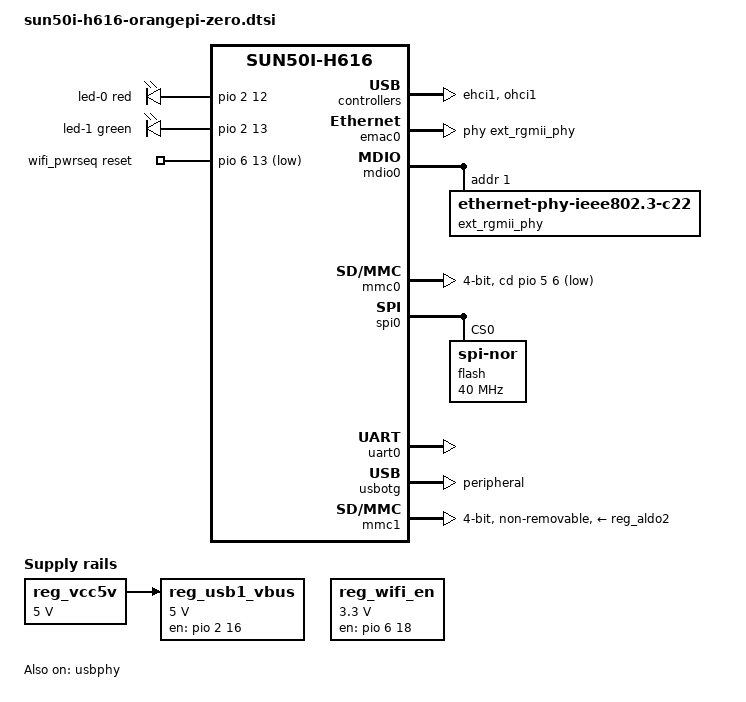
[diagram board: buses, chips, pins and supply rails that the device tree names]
// SPDX-License-Identifier: (GPL-2.0+ OR MIT)
/*
 * Copyright (C) 2020 Arm Ltd.
 *
 * DT nodes common between Orange Pi Zero 2 and Orange Pi Zero 3.
 * Excludes PMIC nodes and properties, since they are different between the two.
 */

#include "sun50i-h616.dtsi"

#include <dt-bindings/gpio/gpio.h>
#include <dt-bindings/interrupt-controller/arm-gic.h>
#include <dt-bindings/leds/common.h>

/ {
	aliases {
		ethernet0 = &emac0;
		serial0 = &uart0;
	};

	chosen {
		stdout-path = "serial0:115200n8";
	};

	leds {
		compatible = "gpio-leds";

		led-0 {
			function = LED_FUNCTION_POWER;
			color = <LED_COLOR_ID_RED>;
			gpios = <&pio 2 12 GPIO_ACTIVE_HIGH>; /* PC12 */
			default-state = "on";
		};

		led-1 {
			function = LED_FUNCTION_STATUS;
			color = <LED_COLOR_ID_GREEN>;
			gpios = <&pio 2 13 GPIO_ACTIVE_HIGH>; /* PC13 */
		};
	};

	reg_vcc5v: vcc5v {
		/* board wide 5V supply directly from the USB-C socket */
		compatible = "regulator-fixed";
		regulator-name = "vcc-5v";
		regulator-min-microvolt = <5000000>;
		regulator-max-microvolt = <5000000>;
		regulator-always-on;
	};

	reg_usb1_vbus: regulator-usb1-vbus {
		compatible = "regulator-fixed";
		regulator-name = "usb1-vbus";
		regulator-min-microvolt = <5000000>;
		regulator-max-microvolt = <5000000>;
		vin-supply = <&reg_vcc5v>;
		enable-active-high;
		gpio = <&pio 2 16 GPIO_ACTIVE_HIGH>; /* PC16 */
	};

	wifi_pwrseq: wifi-pwrseq {
		compatible = "mmc-pwrseq-simple";
		pinctrl-names = "default";
		pinctrl-0 = <&x32clk_fanout_pin>;
		reset-gpios = <&pio 6 13 GPIO_ACTIVE_LOW>; /* PG13 */
		post-power-on-delay-ms = <500>;
	};
	reg_wifi_en: wifi-en {
		compatible = "regulator-fixed";
		regulator-name = "wifi-en";
		regulator-min-microvolt = <3300000>;
		regulator-max-microvolt = <3300000>;
		enable-active-high;
		gpio = <&pio 6 18 GPIO_ACTIVE_HIGH>; /* PG18 wlan_regon */
		regulator-always-on;
	};
};

&ehci1 {
	status = "okay";
};

/* USB 2 & 3 are on headers only. */

&emac0 {
	pinctrl-names = "default";
	pinctrl-0 = <&ext_rgmii_pins>;
	phy-handle = <&ext_rgmii_phy>;
	status = "okay";
};

&mdio0 {
	ext_rgmii_phy: ethernet-phy@1 {
		compatible = "ethernet-phy-ieee802.3-c22";
		reg = <1>;
	};
};

&mmc0 {
	cd-gpios = <&pio 5 6 GPIO_ACTIVE_LOW>;	/* PF6 */
	bus-width = <4>;
	status = "okay";
};

&ohci1 {
	status = "okay";
};

&spi0  {
	status = "okay";
	pinctrl-names = "default";
	pinctrl-0 = <&spi0_pins>, <&spi0_cs0_pin>;

	flash@0 {
		#address-cells = <1>;
		#size-cells = <1>;
		compatible = "jedec,spi-nor";
		reg = <0>;
		spi-max-frequency = <40000000>;
	};
};

&uart0 {
	pinctrl-names = "default";
	pinctrl-0 = <&uart0_ph_pins>;
	status = "okay";
};

&usbotg {
	/*
	 * PHY0 pins are connected to a USB-C socket, but a role switch
	 * is not implemented: both CC pins are pulled to GND.
	 * The VBUS pins power the device, so a fixed peripheral mode
	 * is the best choice.
	 * The board can be powered via GPIOs, in this case port0 *can*
	 * act as a host (with a cable/adapter ignoring CC), as VBUS is
	 * then provided by the GPIOs. Any user of this setup would
	 * need to adjust the DT accordingly: dr_mode set to "host",
	 * enabling OHCI0 and EHCI0.
	 */
	dr_mode = "peripheral";
	status = "okay";
};

&usbphy {
	usb1_vbus-supply = <&reg_usb1_vbus>;
	status = "okay";
};

&mmc1 {
	vmmc-supply = <&reg_aldo2>;
	vqmmc-supply = <&reg_bldo1>;
	mmc-pwrseq = <&wifi_pwrseq>;
	bus-width = <4>;
	non-removable;
	status = "okay";
};
